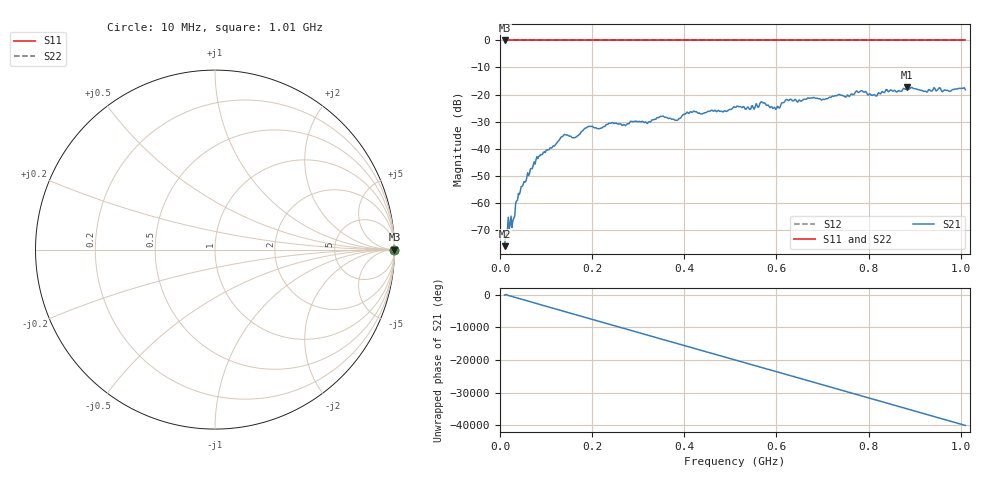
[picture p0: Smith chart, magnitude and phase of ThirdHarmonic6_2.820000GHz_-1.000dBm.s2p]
! 8/17/2025 7:27:36 AM
! C:\ANRITSUVNA\TEMP\TEMP.S2P
! CHANNEL.1
! TR.MEASUREMENT
! RAW.DATA
! RF.CORRECTION.OFF
! AVERAGING.OFF
! IF.BANDWIDTH: 5KHZ
! SWEEPTYPE:  FREQ.SWEEP(Linear)
! Reference Plane Port Info
! PORT:  PORT1  PORT2
! DISTANCE:  0  m  0  m
! TIME:  0  s  0  s
! PHASE.OFFSET:  0  deg.  0  deg.
! LOSS:  0  dB  0  dB
! REF.LOSS:  0  dB  0  dB
! REF.FREQ:  0  Hz  0  Hz
! Power Info
! POWER:  -20  dBm  -20  dBm
! EFF.POWER:  -20  dBm  -20  dBm
! SOURCE.ATTEN:  0  dB  0  dB
! TEST.ATTEN:  0  dB  0  dB
# GHZ S RI R 50.0
! FREQ.GHZ  S11RE  S11IM  S21RE  S21IM  S12RE  S12IM  S22RE  S22IM
!; PortSelection: Port_12
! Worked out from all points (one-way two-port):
!   501 points, 10 MHz to 1.01 GHz, reference 50 ohm
!   highest |S21| = -17.23 dB at 884 MHz (marker M1); lowest = -76.1 dB at 10 MHz (marker M2)
!   lowest |S11| = 0.0 dB at 10 MHz (marker M3)
!   |S11| at or under -10 dB: nowhere
!   |S22| runs from 0.0 to 0.0 dB; largest |S21 - S12| = 1.1
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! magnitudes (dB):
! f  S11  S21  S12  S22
! 10 MHz  0.0  -76.1  0.0  0.0
! 20 MHz  0.0  -69.6  0.0  0.0
! 30 MHz  0.0  -65.8  0.0  0.0
! 44 MHz  0.0  -55.8  0.0  0.0
! 82 MHz  0.0  -43.7  0.0  0.0
! 136 MHz  0.0  -35.5  0.0  0.0
! 162 MHz  0.0  -36.0  0.0  0.0
! 178 MHz  0.0  -33.6  0.0  0.0
! 344 MHz  0.0  -28.6  0.0  0.0
! 382 MHz  0.0  -29.6  0.0  0.0
! 410 MHz  0.0  -27.0  0.0  0.0
! 510 MHz  0.0  -24.7  0.0  0.0
! 540 MHz  0.0  -25.1  0.0  0.0
! 570 MHz  0.0  -23.0  0.0  0.0
! 596 MHz  0.0  -24.7  0.0  0.0
! 624 MHz  0.0  -22.0  0.0  0.0
! 678 MHz  0.0  -21.3  0.0  0.0
! 784 MHz  0.0  -18.6  0.0  0.0
! 814 MHz  0.0  -20.2  0.0  0.0
! 844 MHz  0.0  -18.9  0.0  0.0
! 884 MHz  0.0  -17.2  0.0  0.0
! 1.01 GHz  0.0  -18.3  0.0  0.0
